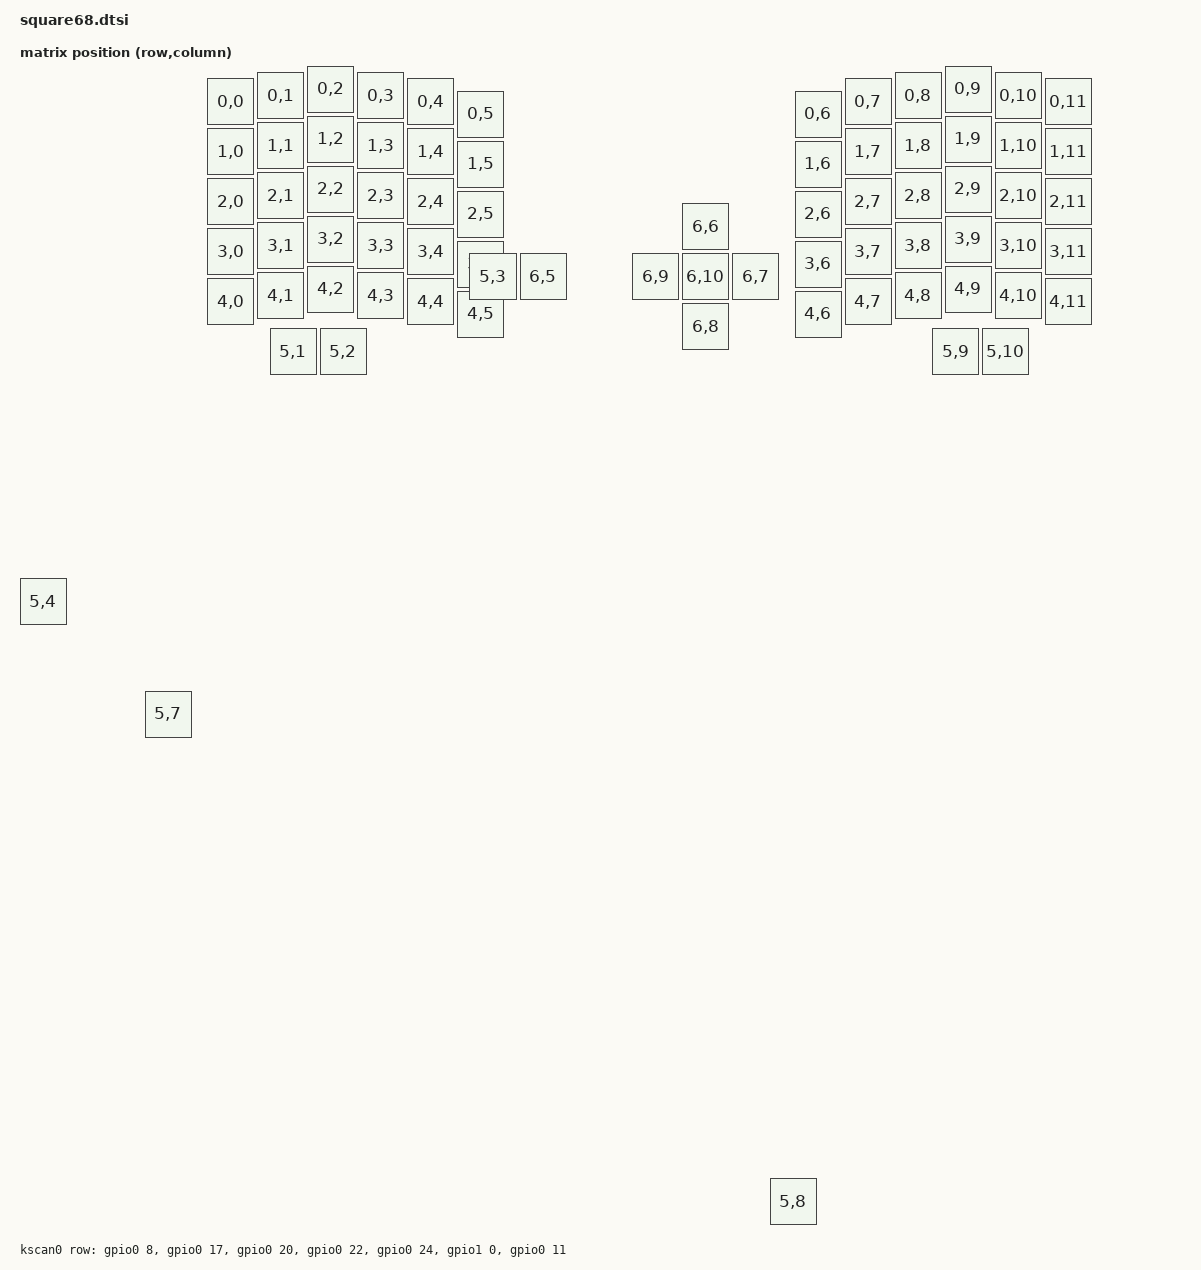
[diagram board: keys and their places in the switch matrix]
/*
 * Copyright (c) 2020 Noir Guo
 *
 * SPDX-License-Identifier: MIT
 */

#include <dt-bindings/zmk/matrix_transform.h>
#include <dt-bindings/led/led.h>
#include <physical_layouts.dtsi>

/ {
    square68_layout0: square68_layout_0 {
        compatible = "zmk,physical-layout";
        display-name = "Square68";

        kscan = <&kscan0>;
        transform = <&matrix_transform0>;

        keys  //                     w   h    x    y     rot    rx    ry
            = <&key_physical_attrs 100 100  375   25       0     0     0>
            , <&key_physical_attrs 100 100  475   13       0     0     0>
            , <&key_physical_attrs 100 100  575    0       0     0     0>
            , <&key_physical_attrs 100 100  675   13       0     0     0>
            , <&key_physical_attrs 100 100  775   25       0     0     0>
            , <&key_physical_attrs 100 100  875   50       0     0     0>
            , <&key_physical_attrs 100 100 1550   50       0     0     0>
            , <&key_physical_attrs 100 100 1650   25       0     0     0>
            , <&key_physical_attrs 100 100 1750   13       0     0     0>
            , <&key_physical_attrs 100 100 1850    0       0     0     0>
            , <&key_physical_attrs 100 100 1950   13       0     0     0>
            , <&key_physical_attrs 100 100 2050   25       0     0     0>
            , <&key_physical_attrs 100 100  375  125       0     0     0>
            , <&key_physical_attrs 100 100  475  113       0     0     0>
            , <&key_physical_attrs 100 100  575  100       0     0     0>
            , <&key_physical_attrs 100 100  675  113       0     0     0>
            , <&key_physical_attrs 100 100  775  125       0     0     0>
            , <&key_physical_attrs 100 100  875  150       0     0     0>
            , <&key_physical_attrs 100 100 1550  150       0     0     0>
            , <&key_physical_attrs 100 100 1650  125       0     0     0>
            , <&key_physical_attrs 100 100 1750  113       0     0     0>
            , <&key_physical_attrs 100 100 1850  100       0     0     0>
            , <&key_physical_attrs 100 100 1950  113       0     0     0>
            , <&key_physical_attrs 100 100 2050  125       0     0     0>
            , <&key_physical_attrs 100 100  375  225       0     0     0>
            , <&key_physical_attrs 100 100  475  213       0     0     0>
            , <&key_physical_attrs 100 100  575  200       0     0     0>
            , <&key_physical_attrs 100 100  675  213       0     0     0>
            , <&key_physical_attrs 100 100  775  225       0     0     0>
            , <&key_physical_attrs 100 100  875  250       0     0     0>
            , <&key_physical_attrs 100 100 1550  250       0     0     0>
            , <&key_physical_attrs 100 100 1650  225       0     0     0>
            , <&key_physical_attrs 100 100 1750  213       0     0     0>
            , <&key_physical_attrs 100 100 1850  200       0     0     0>
            , <&key_physical_attrs 100 100 1950  213       0     0     0>
            , <&key_physical_attrs 100 100 2050  225       0     0     0>
            , <&key_physical_attrs 100 100  375  325       0     0     0>
            , <&key_physical_attrs 100 100  475  313       0     0     0>
            , <&key_physical_attrs 100 100  575  300       0     0     0>
            , <&key_physical_attrs 100 100  675  313       0     0     0>
            , <&key_physical_attrs 100 100  775  325       0     0     0>
            , <&key_physical_attrs 100 100  875  350       0     0     0>
            , <&key_physical_attrs 100 100 1550  350       0     0     0>
            , <&key_physical_attrs 100 100 1650  325       0     0     0>
            , <&key_physical_attrs 100 100 1750  313       0     0     0>
            , <&key_physical_attrs 100 100 1850  300       0     0     0>
            , <&key_physical_attrs 100 100 1950  313       0     0     0>
            , <&key_physical_attrs 100 100 2050  325       0     0     0>
            , <&key_physical_attrs 100 100  375  425       0     0     0>
            , <&key_physical_attrs 100 100  475  413       0     0     0>
            , <&key_physical_attrs 100 100  575  400       0     0     0>
            , <&key_physical_attrs 100 100  675  413       0     0     0>
            , <&key_physical_attrs 100 100  775  425       0     0     0>
            , <&key_physical_attrs 100 100  875  450       0     0     0>
            , <&key_physical_attrs 100 100 1550  450       0     0     0>
            , <&key_physical_attrs 100 100 1650  425       0     0     0>
            , <&key_physical_attrs 100 100 1750  413       0     0     0>
            , <&key_physical_attrs 100 100 1850  400       0     0     0>
            , <&key_physical_attrs 100 100 1950  413       0     0     0>
            , <&key_physical_attrs 100 100 2050  425       0     0     0>
            , <&key_physical_attrs 100 100  500  525       0     0     0>
            , <&key_physical_attrs 100 100  600  525       0     0     0>
            , <&key_physical_attrs 100 100  900  375       0     0     0>
            , <&key_physical_attrs 100 100    0 1025       0     0     0>
            , <&key_physical_attrs 100 100  250 1250       0     0     0>
            , <&key_physical_attrs 100 100 1500 2225       0     0     0>
            , <&key_physical_attrs 100 100 1825  525       0     0     0>
            , <&key_physical_attrs 100 100 1925  525       0     0     0>
            , <&key_physical_attrs 100 100 1000  375       0     0     0>
            , <&key_physical_attrs 100 100 1325  275       0     0     0>
            , <&key_physical_attrs 100 100 1425  375       0     0     0>
            , <&key_physical_attrs 100 100 1325  475       0     0     0>
            , <&key_physical_attrs 100 100 1225  375       0     0     0>
            , <&key_physical_attrs 100 100 1325  375       0     0     0>
            ;
    };
};


&pinctrl {
// Other pinctrl definitions for other hardware
    i2c0_default: i2c0_default {
        group1 {
            psels = <NRF_PSEL(TWIM_SDA, 0, 10)>,
                    <NRF_PSEL(TWIM_SCL, 0, 9)>;
        };
    };

    i2c0_sleep: i2c0_sleep {
        group1 {
            psels = <NRF_PSEL(TWIM_SDA, 0, 10)>,
                    <NRF_PSEL(TWIM_SCL, 0, 9)>;
            low-power-enable;
        };
    };

    spi3_default: spi3_default {
        group1 {
            psels = <NRF_PSEL(SPIM_MOSI, 0, 6)>;
        };
    };

    spi3_sleep: spi3_sleep {
        group1 {
            psels = <NRF_PSEL(SPIM_MOSI, 0, 6)>;
            low-power-enable;
        };
    };
};

&pro_micro_i2c {
        status = "okay";
	//compatible = "nordic,nrf-twi";
	pinctrl-0 = <&i2c0_default>;
	pinctrl-1 = <&i2c0_sleep>;
	pinctrl-names = "default", "sleep";
    
	oled: ssd1306@3c {
        // 分辨率修改
        width = <128>;
		height = <32>;

        // 0.91或0.96，使用以下
        compatible = "solomon,ssd1306fb";   //0.91   0.96
        segment-offset = <0>;   //0.91   0.96
        multiplex-ratio = <31>; //128*32
        com-sequential; //1.30注销本行
        
        // 1.30，使用以下
        //compatible = "sinowealth,sh1106";   //1.30
        //segment-offset = <2>;   //1.30
		//multiplex-ratio = <63>; //128*64
        
		reg = <0x3c>;
		label = "Dongle_DISPLAY";
		page-offset = <0>;
		display-offset = <0>;
		segment-remap;
		com-invdir;
        inversion-on;   // 翻转颜色
		prechargep = <0x22>;
    };
};

&spi3 {
    compatible = "nordic,nrf-spim";
    status = "okay";

    pinctrl-0 = <&spi3_default>;
    pinctrl-1 = <&spi3_sleep>;
    pinctrl-names = "default", "sleep";

    led_strip: ws2812@0 {
        compatible = "worldsemi,ws2812-spi";

        /* SPI */
        reg = <0>; /* ignored, but necessary for SPI bindings */
        spi-max-frequency = <4000000>;

        /* WS2812 */
        chain-length = <34>; /* arbitrary; change at will */
        spi-one-frame = <0x70>;
        spi-zero-frame = <0x40>;

        color-mapping = <
            LED_COLOR_ID_GREEN
            LED_COLOR_ID_RED
            LED_COLOR_ID_BLUE
        >;
    };
};

/ {
    chosen {
        zmk,kscan = &kscan0;
        zmk,physical-layouts = &square68_layout0;
        zephyr,display = &oled;
        zmk,underglow = &led_strip;
    };

    default_transform: keymap_transform_0 {
        compatible = "zmk,matrix-transform";
        columns = <12>;
        rows = <7>;

        map = <
   RC(0,0) RC(0,1) RC(0,2) RC(0,3) RC(0,4) RC(0,5)   RC(0,6) RC(0,7) RC(0,8) RC(0,9) RC(0,10) RC(0,11)
   RC(1,0) RC(1,1) RC(1,2) RC(1,3) RC(1,4) RC(1,5)   RC(1,6) RC(1,7) RC(1,8) RC(1,9) RC(1,10) RC(1,11)
   RC(2,0) RC(2,1) RC(2,2) RC(2,3) RC(2,4) RC(2,5)   RC(2,6) RC(2,7) RC(2,8) RC(2,9) RC(2,10) RC(2,11)
   RC(3,0) RC(3,1) RC(3,2) RC(3,3) RC(3,4) RC(3,5)   RC(3,6) RC(3,7) RC(3,8) RC(3,9) RC(3,10) RC(3,11)
   RC(4,0) RC(4,1) RC(4,2) RC(4,3) RC(4,4) RC(4,5)   RC(4,6) RC(4,7) RC(4,8) RC(4,9) RC(4,10) RC(4,11)   
           RC(5,1) RC(5,2) RC(5,3) RC(5,4)                   RC(5,7) RC(5,8) RC(5,9) RC(5,10)
                                           RC(6,5)   RC(6,6) RC(6,7) RC(6,8) RC(6,9) RC(6,10)

        >;
    };

    kscan0: kscan {
        compatible = "zmk,kscan-gpio-matrix";
        diode-direction = "col2row";
        wakeup-source;

        row-gpios
            = <&gpio0 8 (GPIO_ACTIVE_HIGH | GPIO_PULL_DOWN)>
            , <&gpio0 17 (GPIO_ACTIVE_HIGH | GPIO_PULL_DOWN)>
            , <&gpio0 20 (GPIO_ACTIVE_HIGH | GPIO_PULL_DOWN)>
            , <&gpio0 22 (GPIO_ACTIVE_HIGH | GPIO_PULL_DOWN)>
            , <&gpio0 24 (GPIO_ACTIVE_HIGH | GPIO_PULL_DOWN)>
            , <&gpio1 0 (GPIO_ACTIVE_HIGH | GPIO_PULL_DOWN)>
            , <&gpio0 11 (GPIO_ACTIVE_HIGH | GPIO_PULL_DOWN)>
        ;

    };

};

&square68_layout0{

	transform = <&default_transform>;

	kscan = <&kscan0>;

};



zephyr_udc0: &usbd { 

    compatible = "nordic,nrf-usbd"; 

    status = "okay"; 

};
